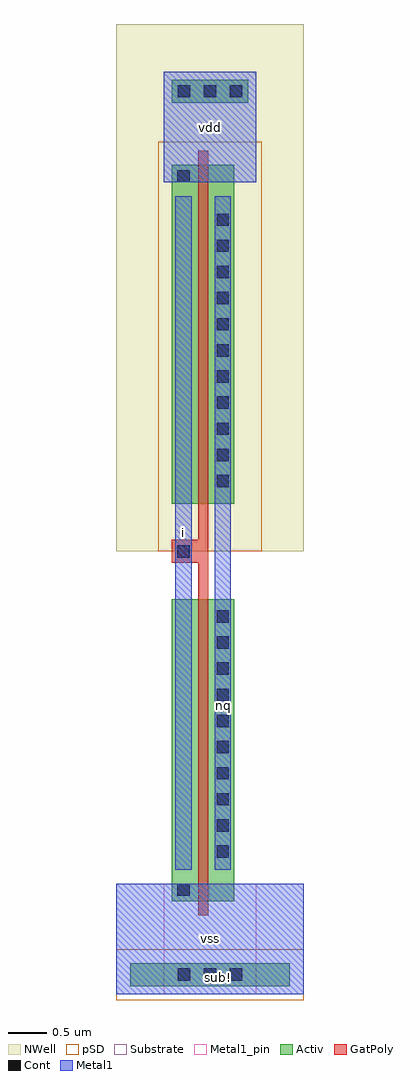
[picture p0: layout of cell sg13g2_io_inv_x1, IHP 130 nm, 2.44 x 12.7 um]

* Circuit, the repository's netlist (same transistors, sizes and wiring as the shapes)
** sch_path: /home/designer/shared/ihp2603/openpdk-libraries/ihp-sg13g2/sg13g2_io/xschem/sg13g2_io_inv_x1.sch
.subckt sg13g2_io_inv_x1 vss i nq vdd sub
*.PININFO vss:B nq:B i:B vdd:B sub:B
R1 vss sub ptap1 A=0.624p P=4.76u
M7 nq i vss sub sg13_lv_nmos w=3.93u l=0.13u ng=1 m=1
M8 nq i vdd vdd sg13_lv_pmos w=4.41u l=0.13u ng=1 m=1
.ends

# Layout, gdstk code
import gdstk
lib = gdstk.Library(unit=1e-6, precision=5e-09)
def R(c, l, rs):  # rectangles x0, y0, x1, y1
    for r in rs: c.add(gdstk.rectangle(r[:2], r[2:], *l))
def A(c, l, x, y, w, h, nx, ny, dx, dy):  # array of equal rectangles
    R(c, l, [(x+i*dx, y+j*dy, x+i*dx+w, y+j*dy+h) for i in range(nx) for j in range(ny)])
def P(c, l, *ps):  # polygons
    for p in ps: c.add(gdstk.Polygon(p, *l))
Activ = (1, 0)
GatPoly = (5, 0)
Cont = (6, 0)
Metal1 = (8, 0)
Metal1_pin = (8, 2)
pSD = (14, 0)
NWell = (31, 0)
Substrate = (40, 0)

sg13g2_io_inv_x1 = lib.new_cell('sg13g2_io_inv_x1')
R(sg13g2_io_inv_x1, Activ, [(-0.44,0.105,1.64,0.405), (0.105,1.21,0.915,5.14), (0.105,6.38,0.915,10.79), (0.105,11.595,1.095,11.895)])
P(sg13g2_io_inv_x1, GatPoly, [(0.445,1.03),(0.445,5.61),(0.105,5.61),(0.105,5.91),(0.445,5.91),(0.445,10.97),(0.575,10.97),(0.575,1.03)])
A(sg13g2_io_inv_x1, Cont, 0.18, 0.175, 0.16, 0.16, 3, 2, 0.34, 11.49)
A(sg13g2_io_inv_x1, Cont, 0.685, 1.775, 0.16, 0.16, 1, 10, 0, 0.34)
A(sg13g2_io_inv_x1, Cont, 0.685, 6.595, 0.16, 0.16, 1, 11, 0, 0.34)
R(sg13g2_io_inv_x1, Cont, [(0.175,1.28,0.335,1.44), (0.175,5.68,0.335,5.84), (0.175,10.56,0.335,10.72)])
R(sg13g2_io_inv_x1, Metal1, [(-0.62,0,1.82,1.44), (0.15,1.62,0.36,10.38), (0.66,1.62,0.87,10.38), (0,10.56,1.2,12)])
R(sg13g2_io_inv_x1, Metal1_pin, [(0,0,1.2,1.44), (0.15,1.62,0.36,10.38), (0.66,1.62,0.87,10.38), (0,10.56,1.2,12)])
R(sg13g2_io_inv_x1, pSD, [(-0.62,-0.075,1.82,0.585), (-0.075,5.76,1.275,11.09)])
R(sg13g2_io_inv_x1, NWell, [(-0.62,5.76,1.82,12.62)])
R(sg13g2_io_inv_x1, Substrate, [(-0.44,0.105,1.64,0.405)])
sg13g2_io_inv_x1.add(gdstk.Label('sub!', (0.71,0.22), layer=63, texttype=0))
sg13g2_io_inv_x1.add(gdstk.Label('nq', (0.78,3.755), layer=8, texttype=25))
sg13g2_io_inv_x1.add(gdstk.Label('i', (0.255,6), layer=8, texttype=25))
sg13g2_io_inv_x1.add(gdstk.Label('vdd', (0.6,11.28), layer=8, texttype=25))
sg13g2_io_inv_x1.add(gdstk.Label('vss', (0.6,0.72), layer=8, texttype=25))

lib.write_gds('sg13g2_io_inv_x1.gds')
